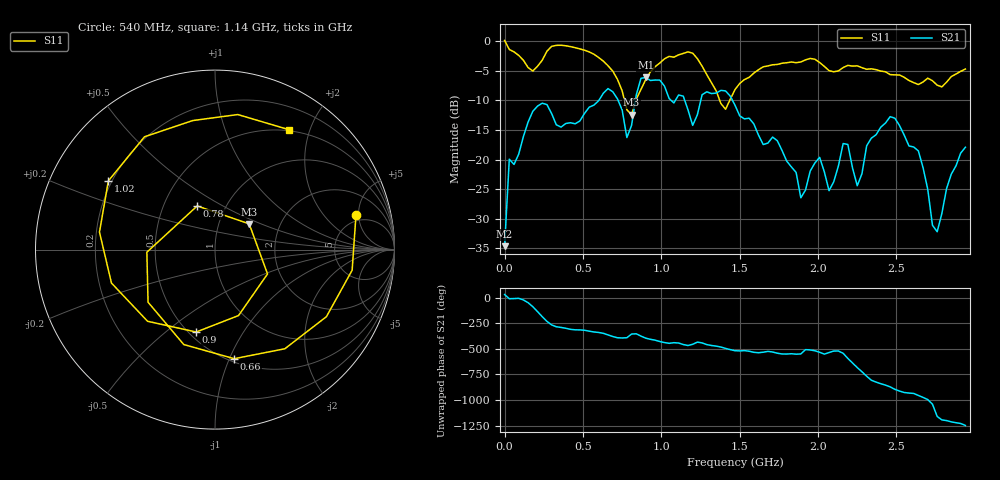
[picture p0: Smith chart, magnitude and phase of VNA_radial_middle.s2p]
# HZ S RI R 50
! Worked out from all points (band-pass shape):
!   99 points, 50 kHz to 2.94 GHz, reference 50 ohm
!   highest |S21| = -6.17 dB at 900 MHz (marker M1); lowest = -34.6 dB at 50 kHz (marker M2)
!   |S21| within 3 dB of the highest: 839.8 MHz to 1.042 GHz (202.3 MHz wide, 21.5 % of centre); 1.259 GHz to 1.435 GHz (175.6 MHz wide, 13 % of centre)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
!   lowest |S11| = -12.5 dB at 810 MHz (marker M3), VSWR 1.63, Z = 69.8 + j21.2 ohm
!   |S11| at or under -10 dB: 764.9 MHz to 838.1 MHz (73.13 MHz wide, 9.12 % of centre); 1.372 GHz to 1.437 GHz (64.52 MHz wide, 4.59 % of centre)
!   S12 and S22 are empty: the file has one direction only
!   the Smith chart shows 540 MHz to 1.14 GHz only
!   S11 on the Smith chart (normalised r, x): 540 MHz: 4.20, +4.63; 660 MHz: 0.53, -1.04; 780 MHz: 0.73, +0.38; 900 MHz: 0.54, -0.64; 1.02 GHz: 0.19, +0.28; 1.14 GHz: 0.48, +1.69
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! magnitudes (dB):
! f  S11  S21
! 50 kHz  0.1  -34.6
! 30.05 MHz  -1.4  -19.9
! 180 MHz  -5.1  -11.9
! 510 MHz  -1.6  -12.2
! 540 MHz  -1.8  -11.2
! 660 MHz  -4.2  -8.0
! 780 MHz  -11.6  -16.3
! 810 MHz  -12.5  -14.3
! 900 MHz  -6.5  -6.2
! 990 MHz  -3.7  -6.6
! 1.02 GHz  -3.0  -7.6
! 1.14 GHz  -2.1  -9.3
! 1.47 GHz  -8.2  -10.8
! 1.89 GHz  -3.5  -26.5
! 1.98 GHz  -3.1  -20.6
! 2.07 GHz  -5.0  -25.2
! 2.19 GHz  -4.1  -17.5
! 2.25 GHz  -4.2  -24.4
! 2.46 GHz  -5.7  -12.8
! 2.64 GHz  -7.4  -18.5
! 2.76 GHz  -7.5  -32.2
! 2.94 GHz  -4.7  -17.9
